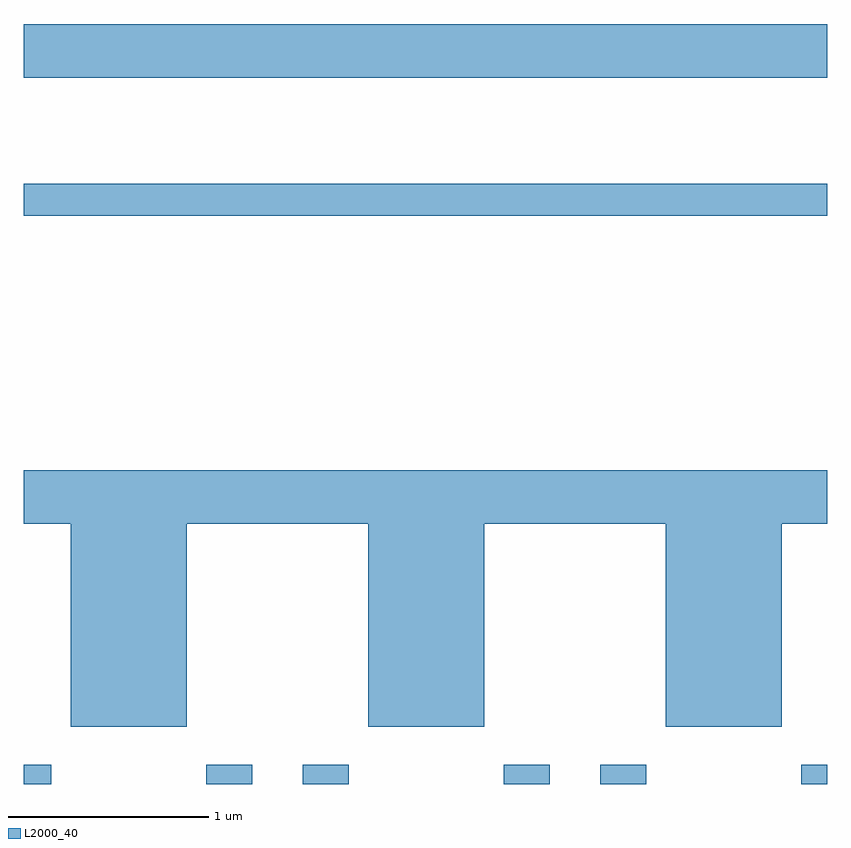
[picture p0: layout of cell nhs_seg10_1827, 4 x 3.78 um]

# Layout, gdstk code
import gdstk
lib = gdstk.Library(unit=1e-6, precision=1e-09)
def R(c, l, rs):  # rectangles x0, y0, x1, y1
    for r in rs: c.add(gdstk.rectangle(r[:2], r[2:], *l))
def P(c, l, *ps):  # polygons
    for p in ps: c.add(gdstk.Polygon(p, *l))
L2000_40 = (2000, 40)

nhs_seg10_1827 = lib.new_cell('nhs_seg10_1827')
R(nhs_seg10_1827, L2000_40, [(237.611,2212.522,237.749,2212.619), (238.521,2212.522,238.749,2212.619), (239.001,2212.522,239.229,2212.619), (240.001,2212.522,240.229,2212.619), (240.481,2212.522,240.709,2212.619), (241.481,2212.522,241.611,2212.619), (237.611,2215.351,241.611,2215.509), (237.611,2216.036,241.611,2216.304)])
P(nhs_seg10_1827, L2000_40, [(238.424,2213.816),(239.326,2213.816),(239.326,2212.806),(239.904,2212.806),(239.904,2213.816),(240.806,2213.816),(240.806,2212.806),(241.384,2212.806),(241.384,2213.816),(241.611,2213.816),(241.611,2214.084),(237.611,2214.084),(237.611,2213.816),(237.846,2213.816),(237.846,2212.806),(238.424,2212.806)])

lib.write_gds('nhs_seg10_1827.gds')
